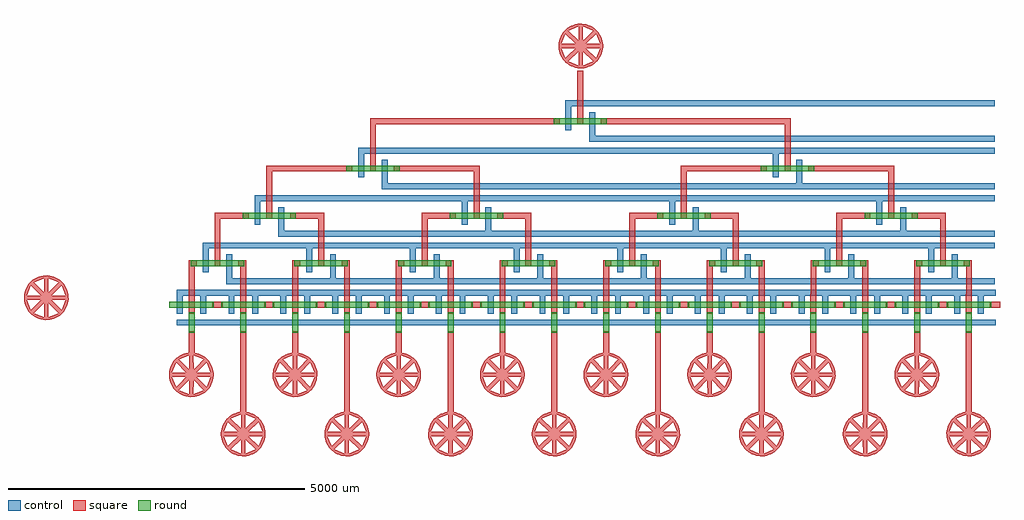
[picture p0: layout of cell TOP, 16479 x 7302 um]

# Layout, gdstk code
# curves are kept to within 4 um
import gdstk
lib = gdstk.Library(unit=1e-6, precision=1e-06)
def R(c, l, rs):  # rectangles x0, y0, x1, y1
    for r in rs: c.add(gdstk.rectangle(r[:2], r[2:], *l))
def A(c, l, x, y, w, h, nx, ny, dx, dy):  # array of equal rectangles
    R(c, l, [(x+i*dx, y+j*dy, x+i*dx+w, y+j*dy+h) for i in range(nx) for j in range(ny)])
def P(c, l, *ps):  # polygons
    for p in ps: c.add(gdstk.Polygon(p, *l))
square = (1, 0)
round = (2, 0)
control = (3, 0)

flow_inlet = lib.new_cell('flow-inlet')
P(flow_inlet, square, [(-22,-383),(-94,-372),(-163,-346),(-196,-330),(-256,-286),(-305,-232),(-342,-168),(-357,-133),(-375,-59),(-334,-42),(-262,-216),(-211,-164),(-39,-93),(-212,-266),(-38,-338),(-39,-122),(33,-93),(32,-338),(206,-266),(33,-93),(-39,-122),(-39,-93),(83,-43),(256,-216),(328,-42),(83,-43),(-211,-164),(-89,-43),(-334,-42),(-375,-59),(-379,12),(-368,84),(-333,172),(-262,202),(-334,28),(-89,29),(-262,202),(-333,172),(-307,212),(-212,252),(-39,80),(-38,295),(32,324),(33,79),(85,131),(256,202),(83,29),(328,28),(256,202),(85,131),(206,252),(32,324),(-38,295),(-38,324),(-307,212),(-282,246),(-228,295),(-164,332),(-58,365),(16,369),(88,358),(157,332),(221,295),(275,245),(319,186),(351,119),(369,48),(373,-26),(362,-98),(336,-167),(299,-231),(249,-285),(190,-329),(123,-361),(52,-379)])

tree_1 = lib.new_cell('Tree$1')
A(tree_1, square, -6613, -2250, 100, 600, 8, 1, 875, 0)
A(tree_1, square, 388, -2250, 100, 600, 8, 1, 875, 0)
A(tree_1, square, -6613, -1750, 138, 100, 4, 1, 1750, 0)
A(tree_1, square, -6175, -1750, 100, 900, 8, 1, 1750, 0)
A(tree_1, square, -5775, -1750, 137, 100, 4, 1, 1750, 0)
A(tree_1, square, 388, -1750, 137, 100, 4, 1, 1750, 0)
A(tree_1, square, 1225, -1750, 138, 100, 4, 1, 1750, 0)
A(tree_1, square, -5300, -950, 100, 900, 4, 1, 3500, 0)
R(tree_1, square, [(-6175,-950,-5600,-850), (-4900,-950,-4325,-850), (-2675,-950,-2100,-850), (-1400,-950,-825,-850), (825,-950,1400,-850), (2100,-950,2675,-850), (4325,-950,4900,-850), (5600,-950,6175,-850), (-5300,-150,-3850,-50), (-3550,-150,-3450,750), (-3150,-150,-1700,-50), (1700,-150,3150,-50), (3450,-150,3550,750), (3850,-150,5300,-50), (-3550,650,-350,750), (-50,650,50,1550), (350,650,3550,750)])
A(tree_1, round, -6575, -1750, 900, 100, 8, 1, 1750, 0)
A(tree_1, round, -5700, -950, 900, 100, 4, 1, 3500, 0)
R(tree_1, round, [(-3950,-150,-3050,-50), (3050,-150,3950,-50), (-450,650,450,750)])
A(tree_1, control, -5975, -2050, 100, 500, 8, 1, 1750, 0)
A(tree_1, control, -6375, -1850, 100, 500, 8, 1, 1750, 0)
A(tree_1, control, -5100, -1250, 100, 500, 4, 1, 3500, 0)
A(tree_1, control, -5500, -1050, 100, 500, 4, 1, 3500, 0)
R(tree_1, control, [(-5975,-2050,6375,-1950), (6275,-2050,7000,-1950), (-6375,-1450,5975,-1350), (5875,-1450,7000,-1350), (-5100,-1250,5500,-1150), (5400,-1250,7000,-1150), (-5500,-650,5100,-550), (5000,-650,7000,-550), (-3350,-450,3750,-350), (-3350,-450,-3250,50), (3650,-450,7000,-350), (3650,-450,3750,50), (-3750,-250,-3650,250), (3250,-250,3350,250), (-3750,150,3350,250), (3250,150,7000,250), (150,350,7000,450), (150,350,250,450), (150,350,250,850), (-250,550,-150,1050), (-250,950,7000,1050), (-250,950,-150,1050)])

tree = lib.new_cell('tree')
tree.add(gdstk.Reference(tree_1, (6613,2250)))

inlet_gate = lib.new_cell('inlet-gate')
R(inlet_gate, square, [(0,0,100,400), (0,700,100,1025)])
R(inlet_gate, round, [(0,375,100,725)])

purge = lib.new_cell('purge')
R(purge, square, [(725,100,900,200)])
R(purge, round, [(0,100,750,200)])
R(purge, control, [(125,0,225,400), (525,0,625,400)])

top = lib.new_cell('TOP')
A(top, square, -5125, -5950, 100, 1050, 8, 1, 1750, 0)
R(top, control, [(-6200,-4450,7625,-4350), (-6200,-3950,7625,-3850)])
r = gdstk.Reference(flow_inlet, (-5075,-6275)); r.repetition = gdstk.Repetition(8, 1, v1=(1750,0), v2=(0,0)); top.add(r)
r = gdstk.Reference(flow_inlet, (-5950,-5275)); r.repetition = gdstk.Repetition(8, 1, v1=(1750,0), v2=(0,0)); top.add(r)
top.add(gdstk.Reference(tree, (-6000,-3950)))
r = gdstk.Reference(inlet_gate, (-6000,-4950)); r.repetition = gdstk.Repetition(16, 1, v1=(875,0), v2=(0,0)); top.add(r)
r = gdstk.Reference(purge, (-6325,-4250)); r.repetition = gdstk.Repetition(16, 1, v1=(875,0), v2=(0,0)); top.add(r)
top.add(gdstk.Reference(flow_inlet, (-8400,-3975)))
top.add(gdstk.Reference(flow_inlet, (625,275)))

lib.write_gds('TOP.gds')
